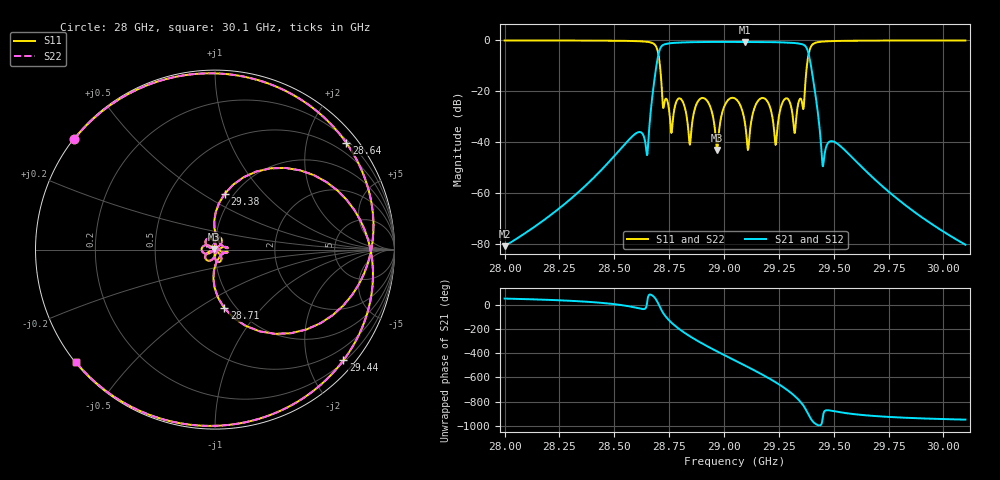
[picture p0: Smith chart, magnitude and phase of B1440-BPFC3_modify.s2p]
! Created with skrf (http://scikit-rf.org).
! Parameters = {f0=29040; bw=584; Q=3500; N=8; m_0_1=1.0246593952178955; m_1_1=-0.0007841861806809902; m_1_2=0.8466901779174805; m_2_2=-0.0008495922666043043; m_2_3=0.5948315858840942; m_3_3=-0.0009855363750830293; m_3_4=0.5148510336875916; m_3_5=-0.027670564129948616; m_3_6=-0.19362948834896088; m_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
# MHz S RI R 50.0
!freq ReS11 ImS11 ReS21 ImS21 ReS12 ImS12 ReS22 ImS22
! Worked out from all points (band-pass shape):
!   1001 points, 28 GHz to 30.1 GHz, reference 50 ohm
!   highest |S21| = -0.59 dB at 29.1 GHz (marker M1); lowest = -80.8 dB at 28 GHz (marker M2)
!   |S21| within 3 dB of the highest: 28.71 GHz to 29.38 GHz (672.3 MHz wide, 2.31 % of centre)
!   lowest |S11| = -43.0 dB at 28.97 GHz (marker M3), VSWR 1.01, Z = 49.4 + j0.34 ohm
!   |S11| at or under -10 dB: 28.71 GHz to 29.38 GHz (669.5 MHz wide, 2.31 % of centre)
!   |S22| runs from -43.0 to 0.0 dB; largest |S21 - S12| = 0
!   S11 on the Smith chart (normalised r, x): 28 GHz: 0.00, +0.35; 28.64 GHz: 0.26, +2.79; 28.71 GHz: 0.89, -0.65; 29.38 GHz: 0.91, +0.63; 29.44 GHz: 0.23, -2.67; 30.1 GHz: 0.00, -0.35
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28000  -0.7847 0.6154  5.81e-05 7.06e-05  5.81e-05 7.06e-05  -0.7847 0.6154
28350.7  -0.4846 0.8662  0.00106 0.000545  0.00106 0.000545  -0.4846 0.8662
28644.7  0.731 0.5956  0.0071 -0.00284  0.0071 -0.00284  0.731 0.5956
28701.4  0.2483 -0.4553  0.5378 0.0472  0.5378 0.0472  0.2483 -0.4553
28707.7  0.0513 -0.325  0.6346 -0.2217  0.6346 -0.2217  0.0513 -0.325
28737.1  0.0699 -0.0152  -0.2096 -0.8282  -0.2096 -0.8282  0.0699 -0.0152
28783.3  0.0103 0.063  -0.8975 0.0615  -0.8975 0.0615  0.0103 0.063
28861  -0.0328 0.0131  0.1525 0.9113  0.1525 0.9113  -0.0328 0.0131
28917.7  -0.0288 0.0629  0.8599 0.3522  0.8599 0.3522  -0.0288 0.0629
28968.1  -0.00616 0.00344  0.8401 -0.4092  0.8401 -0.4092  -0.00616 0.00344
29050  -0.0713 0.0123  -0.18 -0.9161  -0.18 -0.9161  -0.0713 0.0123
29096.2  -0.0183 0.0134  -0.7504 -0.5575  -0.7504 -0.5575  -0.0183 0.0134
29155  -0.0244 -0.0604  -0.8803 0.3002  -0.8803 0.3002  -0.0244 -0.0604
29215.9  -0.0365 -0.0136  -0.1582 0.9109  -0.1582 0.9109  -0.0365 -0.0136
29236.9  0.0012 -0.00939  0.2085 0.8976  0.2085 0.8976  0.0012 -0.00939
29297.8  0.00769 -0.0637  0.9006 0.0277  0.9006 0.0277  0.00769 -0.0637
29346.1  0.0703 0.0118  0.177 -0.8405  0.177 -0.8405  0.0703 0.0118
29377.6  0.0545 0.3113  -0.6621 -0.203  -0.6621 -0.203  0.0545 0.3113
29400.7  0.7759 0.2212  -0.1347 0.2016  -0.1347 0.2016  0.7759 0.2212
29444.8  0.7155 -0.6168  -0.000797 0.00601  -0.000797 0.00601  0.7155 -0.6168
29751.4  -0.4898 -0.8634  -0.000943 0.000491  -0.000943 0.000491  -0.4898 -0.8634
30100  -0.7762 -0.6259  -6.31e-05 7.45e-05  -6.31e-05 7.45e-05  -0.7762 -0.6259
